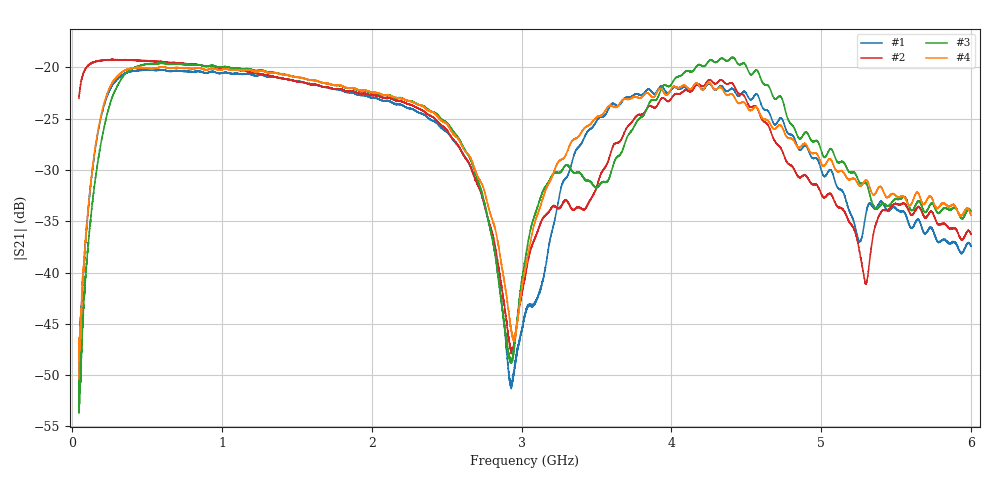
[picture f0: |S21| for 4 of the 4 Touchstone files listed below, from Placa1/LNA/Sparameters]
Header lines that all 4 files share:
!Agilent Technologies,E8364A,US41440144,A.06.04.32
!Agilent E8364A: A.06.04.32
!Correction: S11(Full 2 Port(1,2)) S21(Full 2 Port(1,2)) S12(Full 2 Port(1,2)) S22(Full 2 Port(1,2))
!S2P File: Measurements: S11, S21, S12, S22:
# Hz S  dB  R 50
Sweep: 45 MHz to 6 GHz
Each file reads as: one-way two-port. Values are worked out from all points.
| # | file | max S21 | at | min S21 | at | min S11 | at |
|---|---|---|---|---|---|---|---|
| 1 | LNA1_bobinaCambiada1.5UH.s2p | -20.19 dB | 523.6 MHz | -51.3 dB | 2.931 GHz | -13.6 dB | 4.058 GHz |
| 2 | LNA1_bobinaCambiada_Caps56pf.s2p | -19.18 dB | 268.3 MHz | -47.9 dB | 2.931 GHz | -27.5 dB | 404.9 MHz |
| 3 | LNA1_L56nH_Caps10p.s2p | -19.00 dB | 4.412 GHz | -53.7 dB | 45 MHz | -45.2 dB | 4.16 GHz |
| 4 | LNA2.s2p | -19.94 dB | 606.6 MHz | -50.4 dB | 45 MHz | -14.3 dB | 422 MHz |
